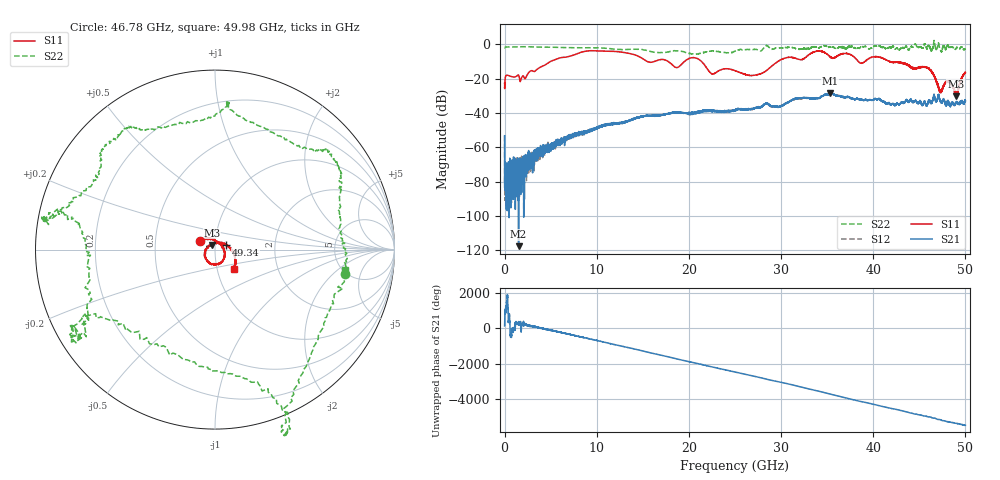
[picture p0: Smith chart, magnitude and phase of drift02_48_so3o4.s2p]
!Created with skrf (http://scikit-rf.org).
# Hz S RI R 50.0
!freq ReS11 ImS11 ReS21 ImS21 ReS12 ImS12 ReS22 ImS22
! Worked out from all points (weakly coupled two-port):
!   10001 points, 300 kHz to 50 GHz, reference 50 ohm
!   highest |S21| = -28.48 dB at 35.32 GHz (marker M1); lowest = -117.6 dB at 1.515 GHz (marker M2)
!   lowest |S11| = -30.2 dB at 48.97 GHz (marker M3), VSWR 1.06, Z = 48.3 + j2.51 ohm
!   |S11| at or under -10 dB: start of sweep to 4.957 GHz; 21.38 GHz to 29.63 GHz (8.251 GHz wide, 32.3 % of centre); 41.84 GHz to end of sweep (the widest 3 of 9)
!   |S22| runs from -5.7 to 2.3 dB; largest |S21 - S12| = 0.0033
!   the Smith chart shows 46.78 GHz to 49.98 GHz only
!   S11 on the Smith chart (normalised r, x): 46.78 GHz: 0.84, +0.08; 49.34 GHz: 1.13, +0.06; 49.98 GHz: 1.20, -0.26
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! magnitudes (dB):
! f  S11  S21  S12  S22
! 300 kHz  -22.4  -53.2  -53.2  -2.1
! 255.3 MHz  -17.9  -71.5  -78.7  -1.4
! 1.515 GHz  -17.9  -117.6  -75.7  -1.4
! 3.885 GHz  -13.2  -62.7  -63.9  -1.5
! 8.335 GHz  -4.5  -52.1  -52.1  -1.9
! 16.67 GHz  -9.1  -41.4  -41.4  -4.7
! 18.7 GHz  -13.5  -39.6  -39.6  -3.7
! 20.59 GHz  -7.7  -40.0  -39.8  -5.7
! 22.51 GHz  -17.1  -38.4  -38.2  -3.7
! 25 GHz  -15.3  -38.1  -38.3  -3.9
! 27.47 GHz  -17.6  -36.3  -36.5  -3.2
! 33.34 GHz  -4.9  -31.2  -31.2  -1.6
! 35.32 GHz  -7.1  -28.5  -28.8  -1.3
! 41.67 GHz  -9.7  -34.0  -34.1  -2.0
! 45.78 GHz  -13.5  -35.7  -35.4  -1.9
! 46.78 GHz  -20.3  -33.0  -33.0  -2.7
! 47.28 GHz  -27.9  -33.2  -32.8  -3.3
! 48.14 GHz  -21.6  -32.9  -33.6  -0.9
! 48.97 GHz  -30.2  -34.0  -33.9  -2.6
! 49.34 GHz  -23.5  -34.3  -34.6  -2.7
! 49.98 GHz  -16.5  -32.2  -32.4  -2.7
! 50 GHz  -16.4  -32.9  -32.9  -2.7
